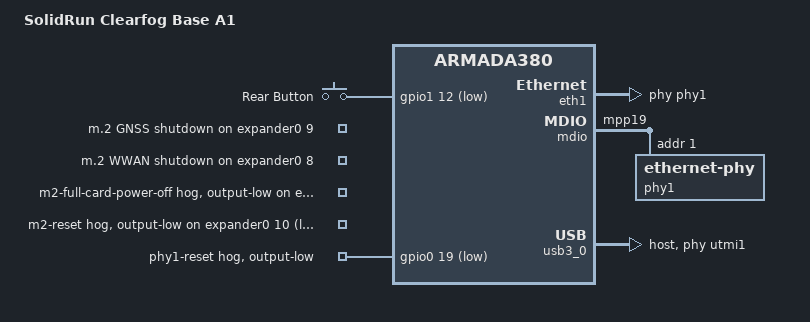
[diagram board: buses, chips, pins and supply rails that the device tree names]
// SPDX-License-Identifier: (GPL-2.0 OR MIT)
/*
 * Device Tree file for SolidRun Clearfog Base revision A1 rev 2.0 (88F6828)
 *
 *  Copyright (C) 2015 Russell King
 */

/dts-v1/;
#include "armada-388-clearfog.dtsi"

/ {
	model = "SolidRun Clearfog Base A1";
	compatible = "solidrun,clearfog-base-a1",
		"solidrun,clearfog-a1", "marvell,armada388",
		"marvell,armada385", "marvell,armada380";

	gpio-keys {
		compatible = "gpio-keys";
		pinctrl-0 = <&rear_button_pins>;
		pinctrl-names = "default";

		button-0 {
			/* The rear SW3 button */
			label = "Rear Button";
			gpios = <&gpio1 12 GPIO_ACTIVE_LOW>;
			linux,can-disable;
			linux,code = <BTN_0>;
		};
	};

	rfkill-m2-gnss {
		compatible = "rfkill-gpio";
		label = "m.2 GNSS";
		radio-type = "gps";
		/* rfkill-gpio inverts internally */
		shutdown-gpios = <&expander0 9 GPIO_ACTIVE_HIGH>;
	};

	/* M.2 is B-keyed, so w-disable is for WWAN */
	rfkill-m2-wwan {
		compatible = "rfkill-gpio";
		label = "m.2 WWAN";
		radio-type = "wwan";
		/* rfkill-gpio inverts internally */
		shutdown-gpios = <&expander0 8 GPIO_ACTIVE_HIGH>;
	};
};

&eth1 {
	phy = <&phy1>;
};

&expander0 {
	m2-full-card-power-off-hog {
		gpio-hog;
		gpios = <2 GPIO_ACTIVE_LOW>;
		output-low;
		line-name = "m2-full-card-power-off";
	};

	m2-reset-hog {
		gpio-hog;
		gpios = <10 GPIO_ACTIVE_LOW>;
		output-low;
		line-name = "m2-reset";
	};
};

&gpio0 {
	phy1_reset {
		gpio-hog;
		gpios = <19 GPIO_ACTIVE_LOW>;
		output-low;
		line-name = "phy1-reset";
	};
};

&mdio {
	pinctrl-0 = <&mdio_pins &microsom_phy_clk_pins &clearfog_phy_pins>;
	phy1: ethernet-phy@1 {
		/*
		 * Annoyingly, the marvell phy driver configures the LED
		 * register, rather than preserving reset-loaded setting.
		 * We undo that rubbish here.
		 */
		marvell,reg-init = <3 16 0 0x101e>;
		reg = <1>;
	};
};

&pinctrl {
	/* phy1 reset */
	clearfog_phy_pins: clearfog-phy-pins {
		marvell,pins = "mpp19";
		marvell,function = "gpio";
	};
	rear_button_pins: rear-button-pins {
		marvell,pins = "mpp44";
		marvell,function = "gpio";
	};
};

/* SRDS #4 - USB-2.0/3.0 Host, M.2 */
&usb3_0 {
	phys = <&utmi1>;
	phy-names = "utmi";
	dr_mode = "host";
	status = "okay";
};
